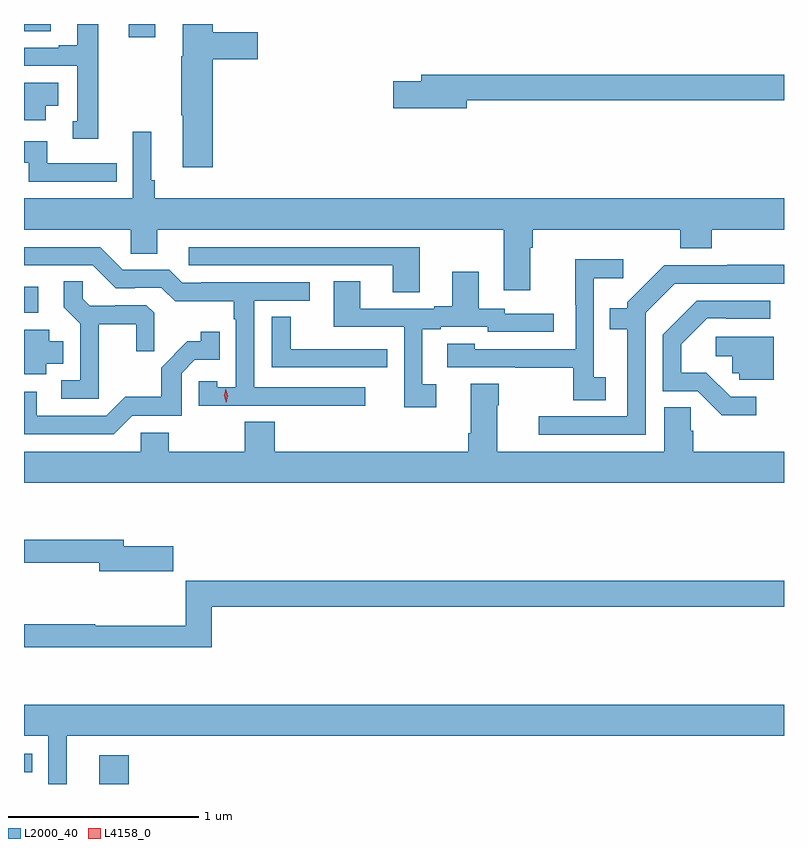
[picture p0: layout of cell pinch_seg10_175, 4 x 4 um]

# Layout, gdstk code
import gdstk
lib = gdstk.Library(unit=1e-6, precision=1e-09)
def R(c, l, rs):  # rectangles x0, y0, x1, y1
    for r in rs: c.add(gdstk.rectangle(r[:2], r[2:], *l))
def P(c, l, *ps):  # polygons
    for p in ps: c.add(gdstk.Polygon(p, *l))
L2000_40 = (2000, 40)
L4158_0 = (4158, 0)

pinch_seg10_175 = lib.new_cell('pinch_seg10_175')
R(pinch_seg10_175, L2000_40, [(736.106,1262.766,736.259,1262.917), (735.709,1262.829,735.752,1262.925), (735.709,1265.247,735.784,1265.383), (736.259,1266.696,736.399,1266.766), (735.709,1266.727,735.85,1266.766)])
P(pinch_seg10_175, L2000_40, [(736.099,1266.766),(735.989,1266.766),(735.989,1266.655),(735.893,1266.655),(735.893,1266.642),(735.709,1266.642),(735.709,1266.546),(735.99,1266.546),(735.99,1266.255),(735.965,1266.255),(735.965,1266.161),(736.099,1266.161)],
  [(736.703,1266.581),(736.939,1266.581),(736.939,1266.723),(736.703,1266.723),(736.703,1266.766),(736.544,1266.766),(736.544,1266.597),(736.537,1266.597),(736.537,1266.286),(736.544,1266.286),(736.544,1266.012),(736.703,1266.012)],
  [(738.04,1266.364),(739.709,1266.364),(739.709,1266.5),(737.801,1266.5),(737.801,1266.464),(737.652,1266.464),(737.652,1266.322),(738.04,1266.322)],
  [(735.823,1266.335),(735.889,1266.335),(735.889,1266.457),(735.709,1266.457),(735.709,1266.26),(735.823,1266.26)],
  [(738.373,1265.588),(738.386,1265.588),(738.386,1265.684),(739.163,1265.684),(739.163,1265.585),(739.328,1265.585),(739.328,1265.684),(739.709,1265.684),(739.709,1265.848),(736.397,1265.848),(736.397,1265.944),(736.378,1265.944),(736.378,1266.199),(736.281,1266.199),(736.281,1265.848),(735.709,1265.848),(735.709,1265.684),(736.272,1265.684),(736.272,1265.557),(736.411,1265.557),(736.411,1265.684),(738.233,1265.684),(738.233,1265.364),(738.373,1265.364)],
  [(736.196,1266.033),(735.832,1266.033),(735.832,1266.148),(735.709,1266.148),(735.709,1266.036),(735.733,1266.036),(735.733,1265.937),(736.196,1265.937)],
  [(737.506,1264.854),(736.92,1264.854),(736.92,1265.31),(737.212,1265.31),(737.212,1265.406),(736.642,1265.406),(736.642,1265.403),(736.542,1265.403),(736.473,1265.472),(736.23,1265.472),(736.11,1265.592),(735.709,1265.592),(735.709,1265.496),(736.071,1265.496),(736.191,1265.376),(736.292,1265.376),(736.292,1265.379),(736.431,1265.379),(736.504,1265.306),(736.812,1265.306),(736.812,1265.213),(736.824,1265.213),(736.824,1264.855),(736.725,1264.855),(736.725,1264.887),(736.629,1264.887),(736.629,1264.758),(737.113,1264.758),(737.113,1264.756),(737.506,1264.756)],
  [(737.791,1265.592),(736.575,1265.592),(736.575,1265.496),(737.651,1265.496),(737.651,1265.353),(737.791,1265.353)],
  [(738.772,1264.908),(738.708,1264.908),(738.708,1265.429),(738.862,1265.429),(738.862,1265.527),(738.61,1265.527),(738.61,1265.288),(738.612,1265.288),(738.612,1265.055),(738.081,1265.055),(738.081,1265.083),(737.937,1265.083),(737.937,1264.959),(738.295,1264.959),(738.295,1264.957),(738.6,1264.957),(738.6,1264.786),(738.772,1264.786)],
  [(738.981,1265.247),(739.134,1265.4),(739.709,1265.4),(739.709,1265.498),(739.411,1265.498),(739.411,1265.496),(739.08,1265.496),(738.885,1265.301),(738.885,1265.269),(738.793,1265.269),(738.793,1265.16),(738.884,1265.16),(738.884,1264.701),(738.417,1264.701),(738.417,1264.605),(738.981,1264.605)],
  [(737.878,1264.869),(737.806,1264.869),(737.806,1265.16),(737.902,1265.16),(737.902,1265.172),(738.15,1265.172),(738.15,1265.145),(738.496,1265.145),(738.496,1265.241),(738.24,1265.241),(738.24,1265.268),(738.103,1265.268),(738.103,1265.461),(737.963,1265.461),(737.963,1265.281),(737.867,1265.281),(737.867,1265.268),(737.479,1265.268),(737.479,1265.411),(737.339,1265.411),(737.339,1265.172),(737.709,1265.172),(737.709,1264.749),(737.878,1264.749)],
  [(736.103,1265.186),(736.3,1265.186),(736.3,1265.043),(736.394,1265.043),(736.394,1265.245),(736.353,1265.286),(736.188,1265.286),(736.188,1265.283),(736.054,1265.283),(736.017,1265.32),(736.017,1265.411),(735.919,1265.411),(735.919,1265.275),(736.005,1265.189),(736.005,1264.89),(735.906,1264.89),(735.906,1264.794),(736.103,1264.794)],
  [(739.564,1264.803),(739.428,1264.803),(739.301,1264.93),(739.168,1264.93),(739.168,1265.08),(739.305,1265.217),(739.405,1265.217),(739.405,1265.214),(739.636,1265.214),(739.636,1265.31),(739.25,1265.31),(739.071,1265.131),(739.071,1264.833),(739.254,1264.833),(739.382,1264.706),(739.564,1264.706)],
  [(737.62,1265.054),(737.507,1265.054),(737.507,1265.055),(737.112,1265.055),(737.112,1265.225),(737.013,1265.225),(737.013,1264.959),(737.62,1264.959)],
  [(735.826,1264.979),(735.916,1264.979),(735.916,1265.095),(735.841,1265.095),(735.841,1265.158),(735.709,1265.158),(735.709,1264.922),(735.826,1264.922)],
  [(736.278,1264.704),(736.539,1264.704),(736.539,1264.929),(736.608,1264.998),(736.739,1264.998),(736.739,1265.146),(736.638,1265.146),(736.638,1265.096),(736.568,1265.096),(736.431,1264.958),(736.431,1264.803),(736.242,1264.803),(736.143,1264.704),(735.775,1264.704),(735.775,1264.83),(735.709,1264.83),(735.709,1264.608),(736.182,1264.608)],
  [(739.654,1265.121),(739.35,1265.121),(739.35,1265.018),(739.437,1265.018),(739.437,1264.929),(739.473,1264.929),(739.473,1264.893),(739.654,1264.893)],
  [(739.709,1264.516),(739.232,1264.516),(739.232,1264.626),(739.217,1264.626),(739.217,1264.748),(739.079,1264.748),(739.079,1264.516),(738.199,1264.516),(738.199,1264.76),(738.207,1264.76),(738.207,1264.873),(738.059,1264.873),(738.059,1264.612),(738.047,1264.612),(738.047,1264.516),(737.03,1264.516),(737.03,1264.673),(736.87,1264.673),(736.87,1264.516),(736.47,1264.516),(736.47,1264.614),(736.323,1264.614),(736.323,1264.516),(735.709,1264.516),(735.709,1264.352),(739.709,1264.352)],
  [(736.495,1264.017),(736.234,1264.017),(736.234,1264.051),(735.709,1264.051),(735.709,1263.93),(736.106,1263.93),(736.106,1263.887),(736.495,1263.887)],
  [(736.697,1263.7),(739.709,1263.7),(739.709,1263.836),(736.561,1263.836),(736.561,1263.599),(736.084,1263.599),(736.084,1263.607),(735.709,1263.607),(735.709,1263.486),(736.697,1263.486)],
  [(735.934,1263.02),(739.709,1263.02),(739.709,1263.184),(735.709,1263.184),(735.709,1263.02),(735.837,1263.02),(735.837,1262.766),(735.934,1262.766)])
P(pinch_seg10_175, L4158_0, [(736.773,1264.773),(736.773,1264.773),(736.762,1264.809),(736.77,1264.845),(736.77,1264.845),(736.77,1264.845),(736.782,1264.81),(736.773,1264.773)])

lib.write_gds('pinch_seg10_175.gds')
